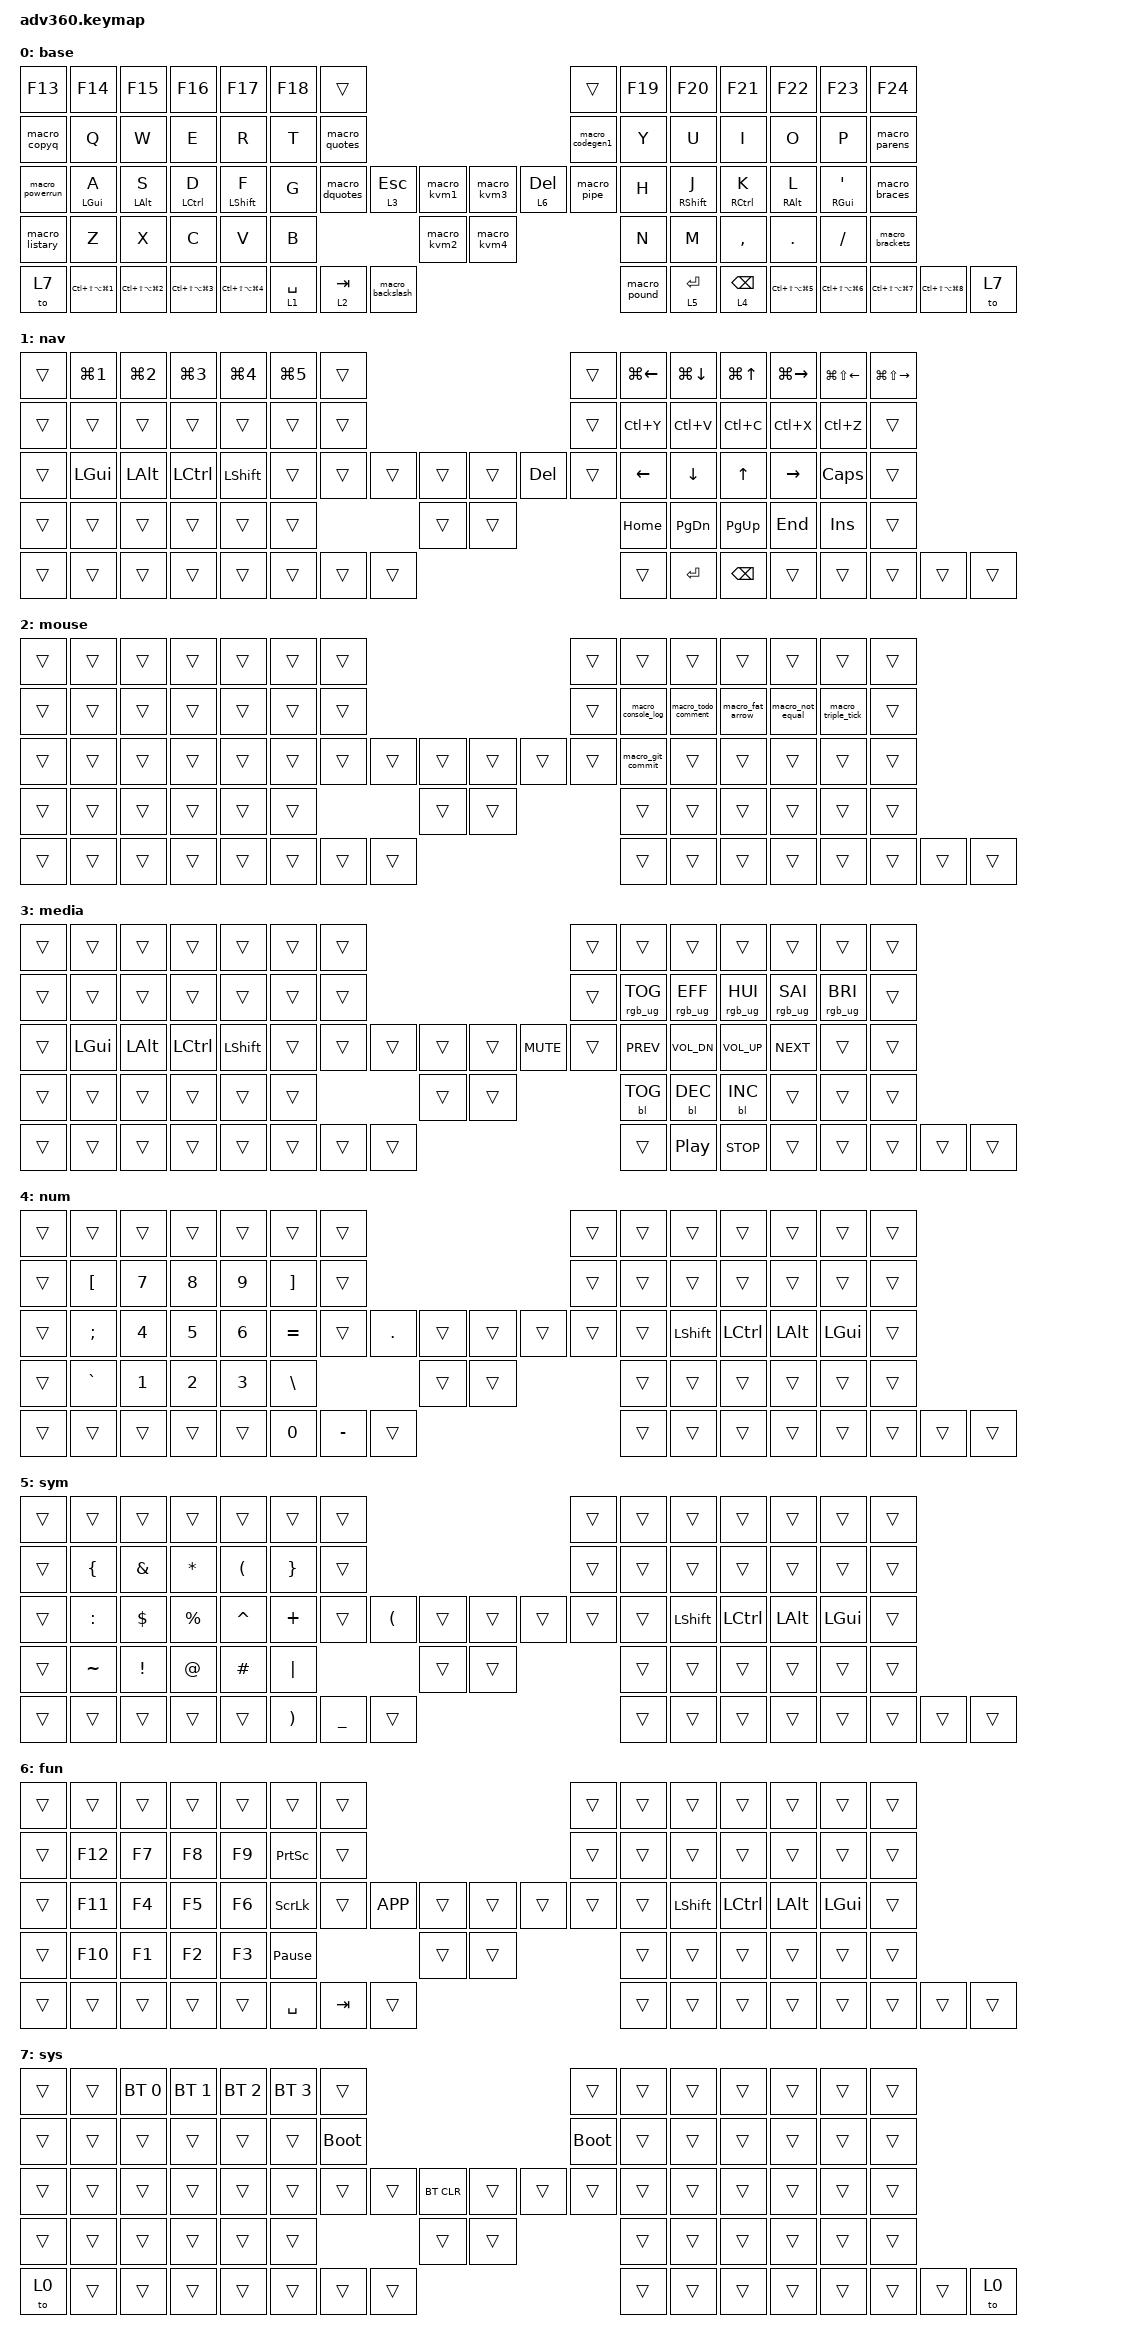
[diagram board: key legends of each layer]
/*
 * Copyright (c) 2020 The ZMK Contributors
 *
 * SPDX-License-Identifier: MIT
 */

#include <behaviors.dtsi>
#include <dt-bindings/zmk/backlight.h>
#include <dt-bindings/zmk/bt.h>
#include <dt-bindings/zmk/keys.h>
#include <dt-bindings/zmk/rgb.h>

/ {
    behaviors {
        #include "macros.dtsi"
    #include "version.dtsi"

        hm: homerow_mods {
            compatible = "zmk,behavior-hold-tap";
            label = "HOMEROW_MODS";
            #binding-cells = <2>;
            tapping-term-ms = <280>;
            require-prior-idle-ms = <150>;
            flavor = "balanced";
            bindings = <&kp>, <&kp>;
        };
    };

    keymap {
        compatible = "zmk,keymap";

        base {
            bindings = <
&kp F13          &kp F14     &kp F15      &kp F16       &kp F17       &kp F18  &trans                                                                                    &trans              &kp F19  &kp F20      &kp F21       &kp F22      &kp F23        &kp F24
&macro_copyq     &kp Q       &kp W        &kp E         &kp R         &kp T    &macro_quotes                                                                             &macro_codegen1     &kp Y    &kp U        &kp I         &kp O        &kp P          &macro_parens
&macro_powerrun  &hm LGUI A  &hm LALT S   &hm LCTRL D   &hm LSHFT F   &kp G    &macro_dquotes   &lt 3 ESC  &macro_kvm1       &macro_kvm3       &lt 6 DEL                  &macro_pipe         &kp H    &hm RSHFT J  &hm RCTRL K   &hm RALT L   &hm RGUI APOS  &macro_braces
&macro_listary   &kp Z       &kp X        &kp C         &kp V         &kp B                                &macro_kvm2       &macro_kvm4                                                      &kp N    &kp M        &kp COMMA     &kp PERIOD   &kp FSLH       &macro_brackets
&to 7  &kp LC(LS(LA(LG(N1))))  &kp LC(LS(LA(LG(N2))))  &kp LC(LS(LA(LG(N3))))  &kp LC(LS(LA(LG(N4))))     &lt 1 SPACE  &lt 2 TAB  &macro_backslash  &macro_pound  &lt 5 RETURN  &lt 4 BACKSPACE  &kp LC(LS(LA(LG(N5))))  &kp LC(LS(LA(LG(N6))))  &kp LC(LS(LA(LG(N7))))  &kp LC(LS(LA(LG(N8))))  &to 7
            >;
        };

        nav {
            bindings = <
&trans  &kp LG(N1)  &kp LG(N2)  &kp LG(N3)  &kp LG(N4)  &kp LG(N5)  &trans                                          &trans  &kp LG(LEFT)  &kp LG(DOWN)  &kp LG(UP)  &kp LG(RIGHT)  &kp LG(LS(LEFT))  &kp LG(LS(RIGHT))
&trans  &trans    &trans    &trans     &trans     &trans  &trans                                          &trans         &kp LC(Y)  &kp LC(V)  &kp LC(C)  &kp LC(X)  &kp LC(Z)  &trans
&trans  &kp LGUI  &kp LALT  &kp LCTRL  &kp LSHFT  &trans  &trans  &trans  &trans      &trans  &kp DEL     &trans         &kp LEFT   &kp DOWN   &kp UP     &kp RIGHT  &kp CAPS   &trans
&trans  &trans    &trans    &trans     &trans     &trans                  &trans      &trans                             &kp HOME   &kp PG_DN  &kp PG_UP  &kp END    &kp INS    &trans
&trans  &trans    &trans    &trans     &trans             &trans  &trans  &trans      &trans  &kp RETURN  &kp BACKSPACE             &trans     &trans     &trans     &trans     &trans
            >;
        };

        mouse {
            bindings = <
&trans  &trans  &trans  &trans  &trans  &trans  &trans                                      &trans  &trans              &trans              &trans            &trans             &trans             &trans
&trans  &trans  &trans  &trans  &trans  &trans  &trans                                      &trans  &macro_console_log  &macro_todo_comment &macro_fat_arrow  &macro_not_equal   &macro_triple_tick &trans
&trans  &trans  &trans  &trans  &trans  &trans  &trans  &trans  &trans      &trans  &trans  &trans  &macro_git_commit   &trans              &trans            &trans             &trans             &trans
&trans  &trans  &trans  &trans  &trans  &trans                  &trans      &trans                  &trans              &trans              &trans            &trans             &trans             &trans
&trans  &trans  &trans  &trans  &trans          &trans  &trans  &trans      &trans  &trans  &trans                      &trans              &trans            &trans             &trans             &trans
            >;
        };

        media {
            bindings = <
&trans  &trans    &trans    &trans     &trans     &trans  &trans                                          &trans      &trans           &trans           &trans           &trans           &trans           &trans
&trans  &trans    &trans    &trans     &trans     &trans  &trans                                          &trans      &rgb_ug RGB_TOG  &rgb_ug RGB_EFF  &rgb_ug RGB_HUI  &rgb_ug RGB_SAI  &rgb_ug RGB_BRI  &trans
&trans  &kp LGUI  &kp LALT  &kp LCTRL  &kp LSHFT  &trans  &trans  &trans  &trans      &trans  &kp C_MUTE  &trans      &kp C_PREV       &kp C_VOL_DN     &kp C_VOL_UP     &kp C_NEXT       &trans           &trans
&trans  &trans    &trans    &trans     &trans     &trans                  &trans      &trans                          &bl BL_TOG       &bl BL_DEC       &bl BL_INC       &trans           &trans           &trans
&trans  &trans    &trans    &trans     &trans             &trans  &trans  &trans      &trans  &kp C_PP    &kp C_STOP                   &trans           &trans           &trans           &trans           &trans
            >;
        };

        num {
            bindings = <
&trans  &trans     &trans  &trans  &trans  &trans     &trans                                         &trans  &trans  &trans     &trans     &trans    &trans    &trans
&trans  &kp LBKT   &kp N7  &kp N8  &kp N9  &kp RBKT   &trans                                         &trans  &trans  &trans     &trans     &trans    &trans    &trans
&trans  &kp SEMI   &kp N4  &kp N5  &kp N6  &kp EQUAL  &trans  &kp DOT    &trans      &trans  &trans  &trans  &trans  &kp LSHFT  &kp LCTRL  &kp LALT  &kp LGUI  &trans
&trans  &kp GRAVE  &kp N1  &kp N2  &kp N3  &kp BSLH                      &trans      &trans                  &trans  &trans     &trans     &trans    &trans    &trans
&trans  &trans     &trans  &trans  &trans             &kp N0  &kp MINUS  &trans      &trans  &trans  &trans          &trans     &trans     &trans    &trans    &trans
            >;
        };

        sym {
            bindings = <
&trans  &trans     &trans    &trans     &trans     &trans    &trans                                                      &trans  &trans  &trans     &trans     &trans    &trans    &trans
&trans  &kp LBRC   &kp AMPS  &kp ASTRK  &kp LPAR   &kp RBRC  &trans                                                      &trans  &trans  &trans     &trans     &trans    &trans    &trans
&trans  &kp COLON  &kp DLLR  &kp PRCNT  &kp CARET  &kp PLUS  &trans    &kp LEFT_PARENTHESIS  &trans      &trans  &trans  &trans  &trans  &kp LSHFT  &kp LCTRL  &kp LALT  &kp LGUI  &trans
&trans  &kp TILDE  &kp EXCL  &kp AT     &kp HASH   &kp PIPE                                  &trans      &trans                  &trans  &trans     &trans     &trans    &trans    &trans
&trans  &trans     &trans    &trans     &trans               &kp RPAR  &kp UNDER             &trans      &trans  &trans  &trans          &trans     &trans     &trans    &trans    &trans
            >;
        };

        fun {
            bindings = <
&trans  &trans   &trans  &trans  &trans  &trans           &trans                                            &trans  &trans  &trans     &trans     &trans    &trans    &trans
&trans  &kp F12  &kp F7  &kp F8  &kp F9  &kp PSCRN        &trans                                            &trans  &trans  &trans     &trans     &trans    &trans    &trans
&trans  &kp F11  &kp F4  &kp F5  &kp F6  &kp SLCK         &trans     &kp K_APP  &trans      &trans  &trans  &trans  &trans  &kp LSHFT  &kp LCTRL  &kp LALT  &kp LGUI  &trans
&trans  &kp F10  &kp F1  &kp F2  &kp F3  &kp PAUSE_BREAK                        &trans      &trans                  &trans  &trans     &trans     &trans    &trans    &trans
&trans  &trans   &trans  &trans  &trans                   &kp SPACE  &kp TAB    &trans      &trans  &trans  &trans          &trans     &trans     &trans    &trans    &trans
            >;
        };

        sys {
            bindings = <
&trans  &trans  &bt BT_SEL 0  &bt BT_SEL 1  &bt BT_SEL 2  &bt BT_SEL 3  &trans                                               &trans       &trans  &trans  &trans  &trans  &trans  &trans
&trans  &trans  &trans        &trans        &trans        &trans        &bootloader                                          &bootloader  &trans  &trans  &trans  &trans  &trans  &trans
&trans  &trans  &trans        &trans        &trans        &trans        &trans       &trans  &bt BT_CLR      &trans  &trans  &trans       &trans  &trans  &trans  &trans  &trans  &trans
&trans  &trans  &trans        &trans        &trans        &trans                             &trans          &trans                       &trans  &trans  &trans  &trans  &trans  &trans
&to 0   &trans  &trans        &trans        &trans                      &trans       &trans  &trans          &trans  &trans  &trans               &trans  &trans  &trans  &trans  &to 0
            >;
        };
    };
};
